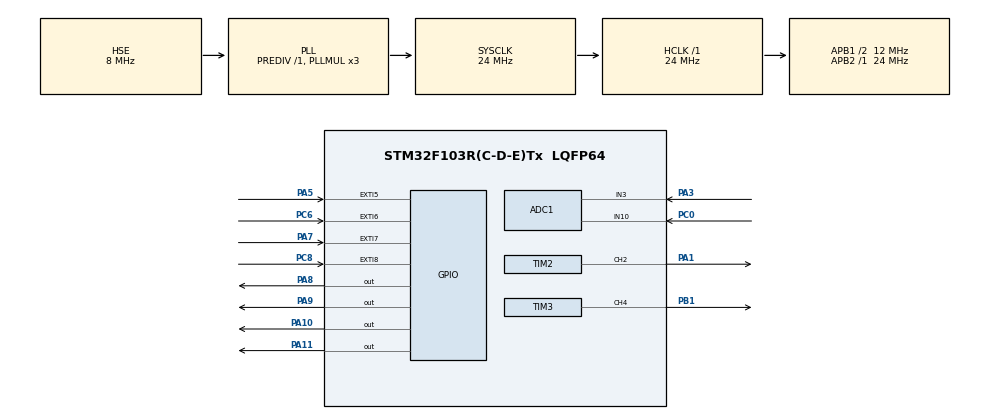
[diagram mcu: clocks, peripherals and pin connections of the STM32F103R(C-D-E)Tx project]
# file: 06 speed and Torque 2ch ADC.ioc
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ADC1.Channel-5\#ChannelRegularConversion=ADC_CHANNEL_3
ADC1.Channel-6\#ChannelRegularConversion=ADC_CHANNEL_10
ADC1.ContinuousConvMode=ENABLE
ADC1.NbrOfConversion=2
ADC1.NbrOfConversionFlag=1
ADC1.Rank-5\#ChannelRegularConversion=1
ADC1.Rank-6\#ChannelRegularConversion=2
ADC1.SamplingTime-5\#ChannelRegularConversion=ADC_SAMPLETIME_239CYCLES_5
ADC1.SamplingTime-6\#ChannelRegularConversion=ADC_SAMPLETIME_1CYCLE_5
ADC1.master=1
Mcu.Family=STM32F1
Mcu.Name=STM32F103R(C-D-E)Tx
Mcu.Package=LQFP64
NVIC.EXTI9_5_IRQn=true\:2\:0\:true\:false\:true\:true\:true\:true
NVIC.PriorityGroup=NVIC_PRIORITYGROUP_4
NVIC.TIM1_UP_IRQn=true\:0\:0\:true\:false\:true\:true\:true\:true
NVIC.TIM4_IRQn=true\:1\:0\:true\:false\:true\:true\:true\:true
PA1.Signal=S_TIM2_CH2
PA10.Signal=GPIO_Output
PA11.Signal=GPIO_Output
PA13.Mode=Serial_Wire
PA13.Signal=SYS_JTMS-SWDIO
PA14.Mode=Serial_Wire
PA14.Signal=SYS_JTCK-SWCLK
PA3.Signal=ADCx_IN3
PA5.Signal=GPXTI5
PA7.GPIO_PuPd=GPIO_PULLDOWN
PA7.Signal=GPXTI7
PA8.Signal=GPIO_Output
PA9.Signal=GPIO_Output
PB1.Signal=S_TIM3_CH4
PC0.Signal=ADCx_IN10
PC6.Signal=GPXTI6
PC8.Signal=GPXTI8
PD0-OSC_IN.Mode=HSE-External-Oscillator
PD0-OSC_IN.Signal=RCC_OSC_IN
PD1-OSC_OUT.Mode=HSE-External-Oscillator
PD1-OSC_OUT.Signal=RCC_OSC_OUT
ProjectManager.HeapSize=0x200
ProjectManager.StackSize=0x400
ProjectManager.TargetToolchain=MDK-ARM V5.32
RCC.AHBFreq_Value=24000000
RCC.APB1CLKDivider=RCC_HCLK_DIV2
RCC.APB1Freq_Value=12000000
RCC.APB1TimFreq_Value=24000000
RCC.APB2Freq_Value=24000000
RCC.APB2TimFreq_Value=24000000
RCC.EnbaleCSS=true
RCC.HCLKFreq_Value=24000000
RCC.PLLMUL=RCC_PLL_MUL3
RCC.PLLSourceVirtual=RCC_PLLSOURCE_HSE
RCC.SYSCLKFreq_VALUE=24000000
RCC.SYSCLKSource=RCC_SYSCLKSOURCE_PLLCLK
RCC.USBFreq_Value=24000000
SH.ADCx_IN10.0=ADC1_IN10,IN10
SH.ADCx_IN3.0=ADC1_IN3,IN3
SH.S_TIM2_CH2.0=TIM2_CH2,PWM Generation2 CH2
SH.S_TIM3_CH4.0=TIM3_CH4,PWM Generation4 CH4
TIM1.Period=TIM1_PERIOD
TIM1.Prescaler=23999
TIM2.Channel-PWM\ Generation2\ CH2=TIM_CHANNEL_2
TIM2.Period=PWM_PERIOD
TIM2.Prescaler=PRESCALER
TIM3.Channel-PWM\ Generation4\ CH4=TIM_CHANNEL_4
TIM3.Period=PWM_PERIOD
TIM3.Prescaler=PRESCALER
TIM4.Period=TIM4_PERIOD
TIM4.Prescaler=23999
VP_TIM1_VS_ClockSourceINT.Mode=Internal
VP_TIM2_VS_ClockSourceINT.Mode=Internal
VP_TIM3_VS_ClockSourceINT.Mode=Internal
VP_TIM4_VS_ClockSourceINT.Mode=Internal
board=custom

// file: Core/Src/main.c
/* USER CODE BEGIN Header */
/**
  ******************************************************************************
  * @file           : main.c
  * @brief          : Main program body
  ******************************************************************************
  * @attention
  *
  * Copyright (c) 2023 STMicroelectronics.
  * All rights reserved.
  *
  * This software is licensed under terms that can be found in the LICENSE file
  * in the root directory of this software component.
  * If no LICENSE file comes with this software, it is provided AS-IS.
  *
  ******************************************************************************
  */
/* USER CODE END Header */
#include "main.h"

/* USER CODE BEGIN PD */

#define PRESCALER 	  99
#define TIM1_PERIOD 	9
#define PWM_PERIOD 	499
#define TIM4_PERIOD 1399

#define NUM_OF_HOLES    12000

/* USER CODE END PD */

 ADC_HandleTypeDef hadc1;

TIM_HandleTypeDef htim1;
TIM_HandleTypeDef htim2;
TIM_HandleTypeDef htim3;
TIM_HandleTypeDef htim4;

/* USER CODE BEGIN PV */

volatile int counterRight, counterLeft, rpmRight, rpmLeft, counterBackRight, counterBackLeft;
int rpmRightD, rpmLeftD, errorRight, errorLeft;
//char flagARight, flagBRight, flagALeft, flagBLeft;
int rPWM = 0;
int lPWM = 0;
int delta_rPWM, delta_lPWM;
int  contL = 0, contR = 0, currentL, currentR;
uint16_t readValueL, readValueR;
float sensitivity = 0.185; // 0.185 for 5A Model
float rawVoltageL, rawVoltageR, kpR = 0.5, kpL = 0.5;
float sumL = 0, sumR = 0;
char forwardR, forwardL, backwardR, backwardL, increasingSpeed=1;
int second=0;
char speedFlag=0, currentFlag=0;
uint32_t AD_RES=0;

float KTL = 1, KTR = 1;
int errorTorRight=0, errorTorLeft=0;
int torRightD, torLeftD, torRight, torLeft;
/* USER CODE END PV */

void SystemClock_Config(void);
static void MX_GPIO_Init(void);
static void MX_TIM2_Init(void);
static void MX_TIM3_Init(void);
static void MX_TIM1_Init(void);
static void MX_ADC1_Init(void);
static void MX_TIM4_Init(void);

/* USER CODE BEGIN 0 */
void ADC_Select_CHA3 (void)
{
	ADC_ChannelConfTypeDef sConfig = {0};
  /** Configure Regular Channel
  */
  sConfig.Channel = ADC_CHANNEL_3;
  sConfig.Rank = ADC_REGULAR_RANK_1;
  sConfig.SamplingTime = ADC_SAMPLETIME_1CYCLE_5;
  if (HAL_ADC_ConfigChannel(&hadc1, &sConfig) != HAL_OK)
  {
    Error_Handler();
  }
}

void ADC_Select_CHC0 (void)
{
	ADC_ChannelConfTypeDef sConfig = {0};
  /** Configure Regular Channel
  */
  sConfig.Channel = ADC_CHANNEL_10;
  sConfig.Rank = ADC_REGULAR_RANK_1;
  sConfig.SamplingTime = ADC_SAMPLETIME_1CYCLE_5;
  if (HAL_ADC_ConfigChannel(&hadc1, &sConfig) != HAL_OK)
  {
    Error_Handler();
  }
}

void Motor_PWM_Right(int PWM){

	if(PWM >= 0){

		HAL_GPIO_WritePin(GPIOA, GPIO_PIN_10, GPIO_PIN_RESET);
		HAL_GPIO_WritePin(GPIOA, GPIO_PIN_11, GPIO_PIN_SET);
		__HAL_TIM_SET_COMPARE(&htim2, TIM_CHANNEL_2, PWM);

	}
	else{

		PWM = -PWM;
		HAL_GPIO_WritePin(GPIOA, GPIO_PIN_10, GPIO_PIN_SET);
		HAL_GPIO_WritePin(GPIOA, GPIO_PIN_11, GPIO_PIN_RESET);
		__HAL_TIM_SET_COMPARE(&htim2, TIM_CHANNEL_2, PWM);

	}

}

void Motor_PWM_Left(int PWM){

	if(PWM >= 0){

		HAL_GPIO_WritePin(GPIOA, GPIO_PIN_8, GPIO_PIN_RESET);
		HAL_GPIO_WritePin(GPIOA, GPIO_PIN_9, GPIO_PIN_SET);
		__HAL_TIM_SET_COMPARE(&htim3, TIM_CHANNEL_4, PWM);

	}
	else{

		PWM = -PWM;
		HAL_GPIO_WritePin(GPIOA, GPIO_PIN_8, GPIO_PIN_SET);
		HAL_GPIO_WritePin(GPIOA, GPIO_PIN_9, GPIO_PIN_RESET);
		__HAL_TIM_SET_COMPARE(&htim3, TIM_CHANNEL_4, PWM);

	}

}

//void HAL_ADC_ConvCpltCallback(ADC_HandleTypeDef* hadc){
//
//
//	  /////////////////// Current ADC ///////////////////////////////
//
//	  		// If rawVoltage is not 2.5Volt, multiply by a factor.In my case it is 1.035
//	  //		HAL_ADC_PollForConversion(&hadc1,100);
//	  //    readValue = HAL_ADC_GetValue(&hadc1);
//	  //    sum += (float) readValue * 3.3 * 2 / 4095;
//	  //		cont++;
//
//	  //		if(cont >= 5000){
//	  //			rawVoltage = (float)sum / 5000;
//	  //			cont = 0;
//	  //			sum = 0;
//	  //		}
//	  //    current =(rawVoltage - 2.5)/sensitivity;
//
//
//	readValue = HAL_ADC_GetValue(&hadc1);
//
//	currentFlag = 1;
//
//}

void HAL_TIM_PeriodElapsedCallback(TIM_HandleTypeDef *htim){
if(htim -> Instance == TIM1){
	speedFlag = 1;
}

if(htim -> Instance == TIM4){

		second++;

////////////// forward straight line ///////////////
//	if(increasingSpeed){
//		rpmRightD += 15;
//		rpmLeftD += 15;
//	}
//	if(!increasingSpeed){
//		rpmRightD -= 15;
//		rpmLeftD -= 15;
//	}
//	if(rpmRightD >= 69 || rpmLeftD >= 69){
//		increasingSpeed = 0;
//  }
//	if(rpmRightD <= 1 || rpmLeftD <= 1){
//		increasingSpeed = 1;
//  }

////////////// backward straight line ///////////////
//	if(increasingSpeed){
//		rpmRightD -= 15;
//		rpmLeftD -= 15;
//	}
//	if(!increasingSpeed){
//		rpmRightD += 15;
//		rpmLeftD += 15;
//	}
//	if(rpmRightD <= -69 || rpmLeftD <= -69){
//		increasingSpeed = 0;
//  }
//	if(rpmRightD >= -1 || rpmLeftD >= -1){
//		increasingSpeed = 1;
//  }

///////////////// T shape profile ///////////////////
//	if(second == 1){
//
//		rpmRightD = 30;
//		rpmLeftD = 30;
//
//	}
//	if(second == 3){
//
//		rpmRightD = 0;
//		rpmLeftD = 0;

//
//	}
//	if(second == 4){
//
//		rpmRightD = 11;
//		rpmLeftD = -11;
//
//	}
//	if(second == 7){
//
//		rpmRightD = 0;
//		rpmLeftD = 0;

//
//	}
//	if(second == 8){
//
//		rpmRightD = 30;
//		rpmLeftD = 30;

//
//	}
//	if(second == 9){
//
//		rpmRightD = -30;
//		rpmLeftD = -30;

//
//	}
//	if(second == 12){
//
//		rpmRightD = 0;
//		rpmLeftD = 0;

//
//	}

//////////////////// 8 ///////////////
//	if(second == 1){
//
//		rpmRightD = 30;
//		rpmLeftD = 10;
//}
//	if(second == 11){
//
//		rpmRightD = 10;
//		rpmLeftD = 30;
//  }
//	if(second == 21){
//
//		rpmRightD = 0;
//		rpmLeftD = 0;
//  }

}

}

void HAL_GPIO_EXTI_Callback(uint16_t GPIO_Pin){

	/////////// Right //////////
	if(GPIO_Pin == GPIO_PIN_6){

		if(HAL_GPIO_ReadPin(GPIOC, GPIO_PIN_7)){
			counterRight++;
			forwardR = 1;
		}
		else{
			counterBackRight++;
			forwardR = 0;
		}
	}

	/////////// Left //////////

	if(GPIO_Pin == GPIO_PIN_7){
		if(HAL_GPIO_ReadPin(GPIOA, GPIO_PIN_6)){
			counterLeft++;
			forwardL = 1;
		}
		else{
			counterBackLeft++;
			forwardL = 0;
		}
	}
}

/* USER CODE END 0 */

int main(void)
{
  /* USER CODE BEGIN 1 */
//	int a = 0;
	lPWM = 0;
//	rPWM = 1.3*lPWM;
	rPWM = 0;

	rpmRightD = 0;
	rpmLeftD = 0;

	torRightD = 120;
	torLeftD = 120;

  /* USER CODE END 1 */

  /* MCU Configuration--------------------------------------------------------*/

  /* Reset of all peripherals, Initializes the Flash interface and the Systick. */
  HAL_Init();

  /* Configure the system clock */
  SystemClock_Config();

  /* Initialize all configured peripherals */
  MX_GPIO_Init();
  MX_TIM2_Init();
  MX_TIM3_Init();
  MX_TIM1_Init();
  MX_ADC1_Init();
  MX_TIM4_Init();
  /* USER CODE BEGIN 2 */

	HAL_TIM_PWM_Start(&htim2, TIM_CHANNEL_2);
	HAL_TIM_PWM_Start(&htim3, TIM_CHANNEL_4);

	HAL_TIM_Base_Start_IT(&htim1);
	HAL_TIM_Base_Start_IT(&htim4);

//	HAL_ADC_Start_DMA(&hadc1, &AD_RES, 1);

	////////////// left /////////////////////////////
	HAL_GPIO_WritePin(GPIOA, GPIO_PIN_8, GPIO_PIN_RESET);
	HAL_GPIO_WritePin(GPIOA, GPIO_PIN_9, GPIO_PIN_SET);

	////////////// Right /////////////////////////////
	HAL_GPIO_WritePin(GPIOA, GPIO_PIN_10, GPIO_PIN_RESET);
	HAL_GPIO_WritePin(GPIOA, GPIO_PIN_11, GPIO_PIN_SET);

  /* USER CODE END 2 */

  /* Infinite loop */
  /* USER CODE BEGIN WHILE */
  while (1)
  {

		ADC_Select_CHA3();
		HAL_ADC_Start(&hadc1);
		HAL_ADC_PollForConversion(&hadc1, 1);
		readValueL = HAL_ADC_GetValue(&hadc1);
		HAL_ADC_Stop(&hadc1);

		sumL += (float) readValueL * 3.3 * 1.05 / 4095 ;
		contL++;
		if(contL >= 50){
			rawVoltageL = (float)sumL / 50;
			contL = 0;
			sumL = 0;
			currentL = rawVoltageL * 49;
		}

		ADC_Select_CHC0();
		HAL_ADC_Start(&hadc1);
		HAL_ADC_PollForConversion(&hadc1, 1);
		readValueR = HAL_ADC_GetValue(&hadc1);
		HAL_ADC_Stop(&hadc1);

		sumR += (float) readValueR * 3.3 * 1.05 / 4095 ;
		contR++;
		if(contR >= 50){
			rawVoltageR = (float)sumR / 50;
			contR = 0;
			sumR = 0;
			currentR = rawVoltageR * 54;
		}

if(speedFlag){

	//60000/(TIM1_PERIOD+1)
	if(forwardR){
	rpmRight = (counterRight * 60000/(TIM1_PERIOD+1))/NUM_OF_HOLES;
	}
	if(forwardL){
	rpmLeft = (counterLeft *  60000/(TIM1_PERIOD+1))/NUM_OF_HOLES;
	}

	if(!forwardR){
	rpmRight = -(counterBackRight *  60000/(TIM1_PERIOD+1))/NUM_OF_HOLES;
	}
	if(!forwardL){
	rpmLeft = -(counterBackLeft *  60000/(TIM1_PERIOD+1))/NUM_OF_HOLES;
	}

	counterBackRight = 0;
	counterBackLeft = 0;
	counterRight = 0;
	counterLeft = 0;
	speedFlag = 0;

}

/////////////////// Speed Control ///////////////////////////////
/*
//		int a = 300;
		errorRight = rpmRightD - rpmRight;

		delta_rPWM = kpR*errorRight;

		rPWM = rPWM + delta_rPWM;
		if(rPWM > PWM_PERIOD)
			rPWM = PWM_PERIOD;
		else if(rPWM < -PWM_PERIOD)
			rPWM = -PWM_PERIOD;
		HAL_Delay(5);
		Motor_PWM_Right(rPWM);
//		Motor_PWM_Right(0);

		errorLeft = rpmLeftD - rpmLeft;

		delta_lPWM = kpL*errorLeft;

		lPWM = lPWM + delta_lPWM;
		if(lPWM > PWM_PERIOD)
			lPWM = PWM_PERIOD;
		else if(lPWM < -PWM_PERIOD)
			lPWM = -PWM_PERIOD;
		HAL_Delay(5);
		Motor_PWM_Left(lPWM);

		if(rpmRightD == 0 && rPWM !=0)
			rPWM = 0;
		if(rpmLeftD == 0 && lPWM !=0)
			lPWM = 0;

//Motor_PWM_Right(300);
		*/

/////////////////// End of Speed Control ///////////////////////////////

/////////////////// Torque Control /////////////////////////////////////
		if(rPWM < 0)
			currentR = -currentR;
		torRight = currentR * KTR;
		errorTorRight = torRightD - torRight;

		delta_rPWM = 0.1*errorTorRight;

		rPWM = rPWM + delta_rPWM;
		if(rPWM > PWM_PERIOD)
			rPWM = PWM_PERIOD;
		else if(rPWM < -PWM_PERIOD)
			rPWM = -PWM_PERIOD;

		HAL_Delay(3);
		Motor_PWM_Right(rPWM);

		if(lPWM < 0)
			currentL = -currentL;
		torLeft = currentL * KTL;
		errorTorLeft = torLeftD - torLeft;

		delta_lPWM = 0.1*errorTorLeft;

		lPWM = lPWM + delta_lPWM;
		if(lPWM > PWM_PERIOD)
			lPWM = PWM_PERIOD;
		else if(lPWM < -PWM_PERIOD)
			lPWM = -PWM_PERIOD;

		HAL_Delay(3);
		Motor_PWM_Left(lPWM);

    /* USER CODE END WHILE */

  }
}

void SystemClock_Config(void)
{
  RCC_OscInitTypeDef RCC_OscInitStruct = {0};
  RCC_ClkInitTypeDef RCC_ClkInitStruct = {0};
  RCC_PeriphCLKInitTypeDef PeriphClkInit = {0};

  /** Initializes the RCC Oscillators according to the specified parameters
  * in the RCC_OscInitTypeDef structure.
  */
  RCC_OscInitStruct.OscillatorType = RCC_OSCILLATORTYPE_HSE;
  RCC_OscInitStruct.HSEState = RCC_HSE_ON;
  RCC_OscInitStruct.HSEPredivValue = RCC_HSE_PREDIV_DIV1;
  RCC_OscInitStruct.HSIState = RCC_HSI_ON;
  RCC_OscInitStruct.PLL.PLLState = RCC_PLL_ON;
  RCC_OscInitStruct.PLL.PLLSource = RCC_PLLSOURCE_HSE;
  RCC_OscInitStruct.PLL.PLLMUL = RCC_PLL_MUL3;
  if (HAL_RCC_OscConfig(&RCC_OscInitStruct) != HAL_OK)
  {
    Error_Handler();
  }

  /** Initializes the CPU, AHB and APB buses clocks
  */
  RCC_ClkInitStruct.ClockType = RCC_CLOCKTYPE_HCLK|RCC_CLOCKTYPE_SYSCLK
                              |RCC_CLOCKTYPE_PCLK1|RCC_CLOCKTYPE_PCLK2;
  RCC_ClkInitStruct.SYSCLKSource = RCC_SYSCLKSOURCE_PLLCLK;
  RCC_ClkInitStruct.AHBCLKDivider = RCC_SYSCLK_DIV1;
  RCC_ClkInitStruct.APB1CLKDivider = RCC_HCLK_DIV2;
  RCC_ClkInitStruct.APB2CLKDivider = RCC_HCLK_DIV1;

  if (HAL_RCC_ClockConfig(&RCC_ClkInitStruct, FLASH_LATENCY_0) != HAL_OK)
  {
    Error_Handler();
  }
  PeriphClkInit.PeriphClockSelection = RCC_PERIPHCLK_ADC;
  PeriphClkInit.AdcClockSelection = RCC_ADCPCLK2_DIV2;
  if (HAL_RCCEx_PeriphCLKConfig(&PeriphClkInit) != HAL_OK)
  {
    Error_Handler();
  }

  /** Enables the Clock Security System
  */
  HAL_RCC_EnableCSS();
}

static void MX_ADC1_Init(void)
{

  ADC_ChannelConfTypeDef sConfig = {0};

  /** Common config
  */
  hadc1.Instance = ADC1;
  hadc1.Init.ScanConvMode = ADC_SCAN_ENABLE;
  hadc1.Init.ContinuousConvMode = ENABLE;
  hadc1.Init.DiscontinuousConvMode = DISABLE;
  hadc1.Init.ExternalTrigConv = ADC_SOFTWARE_START;
  hadc1.Init.DataAlign = ADC_DATAALIGN_RIGHT;
  hadc1.Init.NbrOfConversion = 1;
  if (HAL_ADC_Init(&hadc1) != HAL_OK)
  {
    Error_Handler();
  }

  /** Configure Regular Channel
  */
//  sConfig.Channel = ADC_CHANNEL_3;
//  sConfig.Rank = ADC_REGULAR_RANK_1;
//  sConfig.SamplingTime = ADC_SAMPLETIME_239CYCLES_5;
//  if (HAL_ADC_ConfigChannel(&hadc1, &sConfig) != HAL_OK)
//  {
//    Error_Handler();
//  }

  /** Configure Regular Channel
  */
//  sConfig.Channel = ADC_CHANNEL_10;
//  sConfig.Rank = ADC_REGULAR_RANK_2;
//  sConfig.SamplingTime = ADC_SAMPLETIME_1CYCLE_5;
//  if (HAL_ADC_ConfigChannel(&hadc1, &sConfig) != HAL_OK)
//  {
//    Error_Handler();
//  }

}

static void MX_TIM1_Init(void)
{

  TIM_ClockConfigTypeDef sClockSourceConfig = {0};
  TIM_MasterConfigTypeDef sMasterConfig = {0};

  htim1.Instance = TIM1;
  htim1.Init.Prescaler = 23999;
  htim1.Init.CounterMode = TIM_COUNTERMODE_UP;
  htim1.Init.Period = TIM1_PERIOD;
  htim1.Init.ClockDivision = TIM_CLOCKDIVISION_DIV1;
  htim1.Init.RepetitionCounter = 0;
  htim1.Init.AutoReloadPreload = TIM_AUTORELOAD_PRELOAD_DISABLE;
  if (HAL_TIM_Base_Init(&htim1) != HAL_OK)
  {
    Error_Handler();
  }
  sClockSourceConfig.ClockSource = TIM_CLOCKSOURCE_INTERNAL;
  if (HAL_TIM_ConfigClockSource(&htim1, &sClockSourceConfig) != HAL_OK)
  {
    Error_Handler();
  }
  sMasterConfig.MasterOutputTrigger = TIM_TRGO_RESET;
  sMasterConfig.MasterSlaveMode = TIM_MASTERSLAVEMODE_DISABLE;
  if (HAL_TIMEx_MasterConfigSynchronization(&htim1, &sMasterConfig) != HAL_OK)
  {
    Error_Handler();
  }

}

static void MX_TIM2_Init(void)
{

  TIM_ClockConfigTypeDef sClockSourceConfig = {0};
  TIM_MasterConfigTypeDef sMasterConfig = {0};
  TIM_OC_InitTypeDef sConfigOC = {0};

  htim2.Instance = TIM2;
  htim2.Init.Prescaler = PRESCALER;
  htim2.Init.CounterMode = TIM_COUNTERMODE_UP;
  htim2.Init.Period = PWM_PERIOD;
  htim2.Init.ClockDivision = TIM_CLOCKDIVISION_DIV1;
  htim2.Init.AutoReloadPreload = TIM_AUTORELOAD_PRELOAD_DISABLE;
  if (HAL_TIM_Base_Init(&htim2) != HAL_OK)
  {
    Error_Handler();
  }
  sClockSourceConfig.ClockSource = TIM_CLOCKSOURCE_INTERNAL;
  if (HAL_TIM_ConfigClockSource(&htim2, &sClockSourceConfig) != HAL_OK)
  {
    Error_Handler();
  }
  if (HAL_TIM_PWM_Init(&htim2) != HAL_OK)
  {
    Error_Handler();
  }
  sMasterConfig.MasterOutputTrigger = TIM_TRGO_RESET;
  sMasterConfig.MasterSlaveMode = TIM_MASTERSLAVEMODE_DISABLE;
  if (HAL_TIMEx_MasterConfigSynchronization(&htim2, &sMasterConfig) != HAL_OK)
  {
    Error_Handler();
  }
  sConfigOC.OCMode = TIM_OCMODE_PWM1;
  sConfigOC.Pulse = 0;
  sConfigOC.OCPolarity = TIM_OCPOLARITY_HIGH;
  sConfigOC.OCFastMode = TIM_OCFAST_DISABLE;
  if (HAL_TIM_PWM_ConfigChannel(&htim2, &sConfigOC, TIM_CHANNEL_2) != HAL_OK)
  {
    Error_Handler();
  }
  HAL_TIM_MspPostInit(&htim2);

}

static void MX_TIM3_Init(void)
{

  TIM_ClockConfigTypeDef sClockSourceConfig = {0};
  TIM_MasterConfigTypeDef sMasterConfig = {0};
  TIM_OC_InitTypeDef sConfigOC = {0};

  htim3.Instance = TIM3;
  htim3.Init.Prescaler = PRESCALER;
  htim3.Init.CounterMode = TIM_COUNTERMODE_UP;
  htim3.Init.Period = PWM_PERIOD;
  htim3.Init.ClockDivision = TIM_CLOCKDIVISION_DIV1;
  htim3.Init.AutoReloadPreload = TIM_AUTORELOAD_PRELOAD_DISABLE;
  if (HAL_TIM_Base_Init(&htim3) != HAL_OK)
  {
    Error_Handler();
  }
  sClockSourceConfig.ClockSource = TIM_CLOCKSOURCE_INTERNAL;
  if (HAL_TIM_ConfigClockSource(&htim3, &sClockSourceConfig) != HAL_OK)
  {
    Error_Handler();
  }
  if (HAL_TIM_PWM_Init(&htim3) != HAL_OK)
  {
    Error_Handler();
  }
  sMasterConfig.MasterOutputTrigger = TIM_TRGO_RESET;
  sMasterConfig.MasterSlaveMode = TIM_MASTERSLAVEMODE_DISABLE;
  if (HAL_TIMEx_MasterConfigSynchronization(&htim3, &sMasterConfig) != HAL_OK)
  {
    Error_Handler();
  }
  sConfigOC.OCMode = TIM_OCMODE_PWM1;
  sConfigOC.Pulse = 0;
  sConfigOC.OCPolarity = TIM_OCPOLARITY_HIGH;
  sConfigOC.OCFastMode = TIM_OCFAST_DISABLE;
  if (HAL_TIM_PWM_ConfigChannel(&htim3, &sConfigOC, TIM_CHANNEL_4) != HAL_OK)
  {
    Error_Handler();
  }
  HAL_TIM_MspPostInit(&htim3);

}

static void MX_TIM4_Init(void)
{

  TIM_ClockConfigTypeDef sClockSourceConfig = {0};
  TIM_MasterConfigTypeDef sMasterConfig = {0};

  htim4.Instance = TIM4;
  htim4.Init.Prescaler = 23999;
  htim4.Init.CounterMode = TIM_COUNTERMODE_UP;
  htim4.Init.Period = TIM4_PERIOD;
  htim4.Init.ClockDivision = TIM_CLOCKDIVISION_DIV1;
  htim4.Init.AutoReloadPreload = TIM_AUTORELOAD_PRELOAD_DISABLE;
  if (HAL_TIM_Base_Init(&htim4) != HAL_OK)
  {
    Error_Handler();
  }
  sClockSourceConfig.ClockSource = TIM_CLOCKSOURCE_INTERNAL;
  if (HAL_TIM_ConfigClockSource(&htim4, &sClockSourceConfig) != HAL_OK)
  {
    Error_Handler();
  }
  sMasterConfig.MasterOutputTrigger = TIM_TRGO_RESET;
  sMasterConfig.MasterSlaveMode = TIM_MASTERSLAVEMODE_DISABLE;
  if (HAL_TIMEx_MasterConfigSynchronization(&htim4, &sMasterConfig) != HAL_OK)
  {
    Error_Handler();
  }

}

static void MX_GPIO_Init(void)
{
  GPIO_InitTypeDef GPIO_InitStruct = {0};

  /* GPIO Ports Clock Enable */
  __HAL_RCC_GPIOD_CLK_ENABLE();
  __HAL_RCC_GPIOC_CLK_ENABLE();
  __HAL_RCC_GPIOA_CLK_ENABLE();
  __HAL_RCC_GPIOB_CLK_ENABLE();

  /*Configure GPIO pin Output Level */
  HAL_GPIO_WritePin(GPIOA, GPIO_PIN_8|GPIO_PIN_9|GPIO_PIN_10|GPIO_PIN_11, GPIO_PIN_RESET);

  /*Configure GPIO pin : PA5 */
  GPIO_InitStruct.Pin = GPIO_PIN_5;
  GPIO_InitStruct.Mode = GPIO_MODE_IT_RISING;
  GPIO_InitStruct.Pull = GPIO_NOPULL;
  HAL_GPIO_Init(GPIOA, &GPIO_InitStruct);

  /*Configure GPIO pin : PA7 */
  GPIO_InitStruct.Pin = GPIO_PIN_7;
  GPIO_InitStruct.Mode = GPIO_MODE_IT_RISING;
  GPIO_InitStruct.Pull = GPIO_PULLDOWN;
  HAL_GPIO_Init(GPIOA, &GPIO_InitStruct);

  /*Configure GPIO pins : PC6 PC8 */
  GPIO_InitStruct.Pin = GPIO_PIN_6|GPIO_PIN_8;
  GPIO_InitStruct.Mode = GPIO_MODE_IT_RISING;
  GPIO_InitStruct.Pull = GPIO_NOPULL;
  HAL_GPIO_Init(GPIOC, &GPIO_InitStruct);

  /*Configure GPIO pins : PA8 PA9 PA10 PA11 */
  GPIO_InitStruct.Pin = GPIO_PIN_8|GPIO_PIN_9|GPIO_PIN_10|GPIO_PIN_11;
  GPIO_InitStruct.Mode = GPIO_MODE_OUTPUT_PP;
  GPIO_InitStruct.Pull = GPIO_NOPULL;
  GPIO_InitStruct.Speed = GPIO_SPEED_FREQ_LOW;
  HAL_GPIO_Init(GPIOA, &GPIO_InitStruct);

  /* EXTI interrupt init*/
  HAL_NVIC_SetPriority(EXTI9_5_IRQn, 2, 0);
  HAL_NVIC_EnableIRQ(EXTI9_5_IRQn);

}

void Error_Handler(void)
{
  __disable_irq();
  while (1)
  {
  }
}
